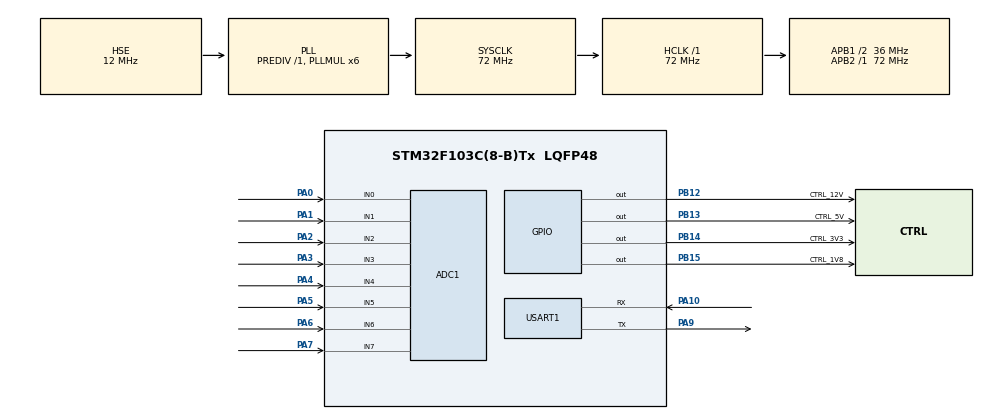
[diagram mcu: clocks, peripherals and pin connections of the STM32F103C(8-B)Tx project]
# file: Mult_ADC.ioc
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ADC1.Channel-0\#ChannelRegularConversion=ADC_CHANNEL_0
ADC1.Channel-10\#ChannelRegularConversion=ADC_CHANNEL_2
ADC1.Channel-11\#ChannelRegularConversion=ADC_CHANNEL_3
ADC1.Channel-12\#ChannelRegularConversion=ADC_CHANNEL_4
ADC1.Channel-13\#ChannelRegularConversion=ADC_CHANNEL_1
ADC1.Channel-14\#ChannelRegularConversion=ADC_CHANNEL_6
ADC1.Channel-15\#ChannelRegularConversion=ADC_CHANNEL_7
ADC1.Channel-9\#ChannelRegularConversion=ADC_CHANNEL_1
ADC1.ContinuousConvMode=ENABLE
ADC1.NbrOfConversion=8
ADC1.NbrOfConversionFlag=1
ADC1.Rank-0\#ChannelRegularConversion=1
ADC1.Rank-10\#ChannelRegularConversion=3
ADC1.Rank-11\#ChannelRegularConversion=4
ADC1.Rank-12\#ChannelRegularConversion=5
ADC1.Rank-13\#ChannelRegularConversion=6
ADC1.Rank-14\#ChannelRegularConversion=7
ADC1.Rank-15\#ChannelRegularConversion=8
ADC1.Rank-9\#ChannelRegularConversion=2
ADC1.SamplingTime-0\#ChannelRegularConversion=ADC_SAMPLETIME_239CYCLES_5
ADC1.SamplingTime-10\#ChannelRegularConversion=ADC_SAMPLETIME_239CYCLES_5
ADC1.SamplingTime-11\#ChannelRegularConversion=ADC_SAMPLETIME_239CYCLES_5
ADC1.SamplingTime-12\#ChannelRegularConversion=ADC_SAMPLETIME_239CYCLES_5
ADC1.SamplingTime-13\#ChannelRegularConversion=ADC_SAMPLETIME_239CYCLES_5
ADC1.SamplingTime-14\#ChannelRegularConversion=ADC_SAMPLETIME_239CYCLES_5
ADC1.SamplingTime-15\#ChannelRegularConversion=ADC_SAMPLETIME_239CYCLES_5
ADC1.SamplingTime-9\#ChannelRegularConversion=ADC_SAMPLETIME_239CYCLES_5
ADC1.master=1
Dma.ADC1.0.Direction=DMA_PERIPH_TO_MEMORY
Dma.ADC1.0.Instance=DMA1_Channel1
Dma.ADC1.0.MemDataAlignment=DMA_MDATAALIGN_WORD
Dma.ADC1.0.MemInc=DMA_MINC_ENABLE
Dma.ADC1.0.Mode=DMA_CIRCULAR
Dma.ADC1.0.PeriphDataAlignment=DMA_PDATAALIGN_WORD
Dma.ADC1.0.PeriphInc=DMA_PINC_DISABLE
Dma.ADC1.0.Priority=DMA_PRIORITY_HIGH
Dma.Request0=ADC1
Mcu.Family=STM32F1
Mcu.Name=STM32F103C(8-B)Tx
Mcu.Package=LQFP48
NVIC.ADC1_2_IRQn=true\:0\:0\:false\:false\:true\:true\:true
NVIC.DMA1_Channel1_IRQn=true\:0\:0\:false\:false\:true\:false\:true
NVIC.PriorityGroup=NVIC_PRIORITYGROUP_4
PA0-WKUP.Signal=ADCx_IN0
PA1.Signal=ADCx_IN1
PA10.Mode=Asynchronous
PA10.Signal=USART1_RX
PA13.Mode=Serial_Wire
PA13.Signal=SYS_JTMS-SWDIO
PA14.Mode=Serial_Wire
PA14.Signal=SYS_JTCK-SWCLK
PA2.Signal=ADCx_IN2
PA3.Signal=ADCx_IN3
PA4.Signal=ADCx_IN4
PA5.Signal=ADCx_IN5
PA6.Signal=ADCx_IN6
PA7.Signal=ADCx_IN7
PA9.Mode=Asynchronous
PA9.Signal=USART1_TX
PB12.GPIO_Label=CTRL_12V
PB12.GPIO_PuPd=GPIO_PULLUP
PB12.PinState=GPIO_PIN_SET
PB12.Signal=GPIO_Output
PB13.GPIO_Label=CTRL_5V
PB13.GPIO_PuPd=GPIO_PULLUP
PB13.PinState=GPIO_PIN_SET
PB13.Signal=GPIO_Output
PB14.GPIO_Label=CTRL_3V3
PB14.GPIO_PuPd=GPIO_PULLUP
PB14.PinState=GPIO_PIN_SET
PB14.Signal=GPIO_Output
PB15.GPIO_Label=CTRL_1V8
PB15.GPIO_PuPd=GPIO_PULLUP
PB15.PinState=GPIO_PIN_SET
PB15.Signal=GPIO_Output
PD0-OSC_IN.Mode=HSE-External-Clock-Source
PD0-OSC_IN.Signal=RCC_OSC_IN
PD1-OSC_OUT.Mode=HSE-External-Clock-Source
PD1-OSC_OUT.Signal=RCC_OSC_OUT
ProjectManager.HeapSize=0x200
ProjectManager.StackSize=0x400
ProjectManager.TargetToolchain=MDK-ARM V5.27
RCC.ADCPresc=RCC_ADCPCLK2_DIV6
RCC.AHBFreq_Value=72000000
RCC.APB1CLKDivider=RCC_HCLK_DIV2
RCC.APB1Freq_Value=36000000
RCC.APB1TimFreq_Value=72000000
RCC.APB2Freq_Value=72000000
RCC.APB2TimFreq_Value=72000000
RCC.HCLKFreq_Value=72000000
RCC.HSE_VALUE=12000000
RCC.PLLMUL=RCC_PLL_MUL6
RCC.PLLSourceVirtual=RCC_PLLSOURCE_HSE
RCC.SYSCLKFreq_VALUE=72000000
RCC.SYSCLKSource=RCC_SYSCLKSOURCE_PLLCLK
RCC.USBFreq_Value=48000000
RCC.USBPrescaler=RCC_USBCLKSOURCE_PLL_DIV1_5
SH.ADCx_IN0.0=ADC1_IN0,IN0
SH.ADCx_IN1.0=ADC1_IN1,IN1
SH.ADCx_IN2.0=ADC1_IN2,IN2
SH.ADCx_IN3.0=ADC1_IN3,IN3
SH.ADCx_IN4.0=ADC1_IN4,IN4
SH.ADCx_IN5.0=ADC1_IN5,IN5
SH.ADCx_IN6.0=ADC1_IN6,IN6
SH.ADCx_IN7.0=ADC1_IN7,IN7
USART1.VirtualMode=VM_ASYNC
VP_TIM2_VS_ClockSourceINT.Mode=Internal
board=custom

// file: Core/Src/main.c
/* USER CODE BEGIN Header */
/**
  ******************************************************************************
  * @file           : main.c
  * @brief          : Main program body
  ******************************************************************************
  * @attention
  *
  * <h2><center>&copy; Copyright (c) 2021 STMicroelectronics.
  * All rights reserved.</center></h2>
  *
  * This software component is licensed by ST under BSD 3-Clause license,
  * the "License"; You may not use this file except in compliance with the
  * License. You may obtain a copy of the License at:
  *                        opensource.org/licenses/BSD-3-Clause
  *
  ******************************************************************************
  */
/* USER CODE END Header */
#include "main.h"
#include "adc.h"
#include "dma.h"
#include "tim.h"
#include "usart.h"
#include "gpio.h"

/* USER CODE BEGIN Includes */
#include "stdlib.h"
/* USER CODE END Includes */

/* USER CODE BEGIN PV */
uint32_t ADC_Value[8];

/* USER CODE END PV */

void SystemClock_Config(void);

int main(void)
{
  /* USER CODE BEGIN 1 */
	uint32_t value=0;

	int count=0;
	int i=0;

  /* USER CODE END 1 */

  /* MCU Configuration--------------------------------------------------------*/

  /* Reset of all peripherals, Initializes the Flash interface and the Systick. */
  HAL_Init();

  /* Configure the system clock */
  SystemClock_Config();

  /* Initialize all configured peripherals */
  MX_GPIO_Init();
  MX_DMA_Init();
  MX_ADC1_Init();
  MX_USART1_UART_Init();
  MX_TIM2_Init();
  /* USER CODE BEGIN 2 */
	printf("start! \r\n\r\n");

	printf("Calibration start! \r\n\r\n");
	HAL_Delay(1000);
	HAL_Delay(1000);
	HAL_ADCEx_Calibration_Start(&hadc1);
	printf("Calibration finish! \r\n\r\n");

	HAL_ADC_Start_DMA(&hadc1,(uint32_t*)&ADC_Value,8);

  /* USER CODE END 2 */

  /* Infinite loop */
  while (1)
  {

    /* USER CODE BEGIN 3 */
//		HAL_ADC_Start(&hadc1);
//		HAL_ADC_PollForConversion(&hadc1,10);
//		value+=HAL_ADC_GetValue(&hadc1);
//
//
//		if(count==100)
//		{
//			printf("\r\n %.3f V",(float)value*3/4096/count);
//			count=0;
//			value=0;
//		}
//		count++;
		for(i=0;i<8;i++)
		{
			  printf(" %.3f", (float)ADC_Value[i]*3/4096 );

		}
    printf("\r\n");
		HAL_Delay(100); //ms

  }
  /* USER CODE END 3 */
}

void SystemClock_Config(void)
{
  RCC_OscInitTypeDef RCC_OscInitStruct = {0};
  RCC_ClkInitTypeDef RCC_ClkInitStruct = {0};
  RCC_PeriphCLKInitTypeDef PeriphClkInit = {0};

  /** Initializes the RCC Oscillators according to the specified parameters
  * in the RCC_OscInitTypeDef structure.
  */
  RCC_OscInitStruct.OscillatorType = RCC_OSCILLATORTYPE_HSE;
  RCC_OscInitStruct.HSEState = RCC_HSE_BYPASS;
  RCC_OscInitStruct.HSEPredivValue = RCC_HSE_PREDIV_DIV1;
  RCC_OscInitStruct.HSIState = RCC_HSI_ON;
  RCC_OscInitStruct.PLL.PLLState = RCC_PLL_ON;
  RCC_OscInitStruct.PLL.PLLSource = RCC_PLLSOURCE_HSE;
  RCC_OscInitStruct.PLL.PLLMUL = RCC_PLL_MUL6;
  if (HAL_RCC_OscConfig(&RCC_OscInitStruct) != HAL_OK)
  {
    Error_Handler();
  }
  /** Initializes the CPU, AHB and APB buses clocks
  */
  RCC_ClkInitStruct.ClockType = RCC_CLOCKTYPE_HCLK|RCC_CLOCKTYPE_SYSCLK
                              |RCC_CLOCKTYPE_PCLK1|RCC_CLOCKTYPE_PCLK2;
  RCC_ClkInitStruct.SYSCLKSource = RCC_SYSCLKSOURCE_PLLCLK;
  RCC_ClkInitStruct.AHBCLKDivider = RCC_SYSCLK_DIV1;
  RCC_ClkInitStruct.APB1CLKDivider = RCC_HCLK_DIV2;
  RCC_ClkInitStruct.APB2CLKDivider = RCC_HCLK_DIV1;

  if (HAL_RCC_ClockConfig(&RCC_ClkInitStruct, FLASH_LATENCY_2) != HAL_OK)
  {
    Error_Handler();
  }
  PeriphClkInit.PeriphClockSelection = RCC_PERIPHCLK_ADC;
  PeriphClkInit.AdcClockSelection = RCC_ADCPCLK2_DIV6;
  if (HAL_RCCEx_PeriphCLKConfig(&PeriphClkInit) != HAL_OK)
  {
    Error_Handler();
  }
}

void Error_Handler(void)
{
  __disable_irq();
  while (1)
  {
  }
}

/************************ (C) COPYRIGHT STMicroelectronics *****END OF FILE****/
